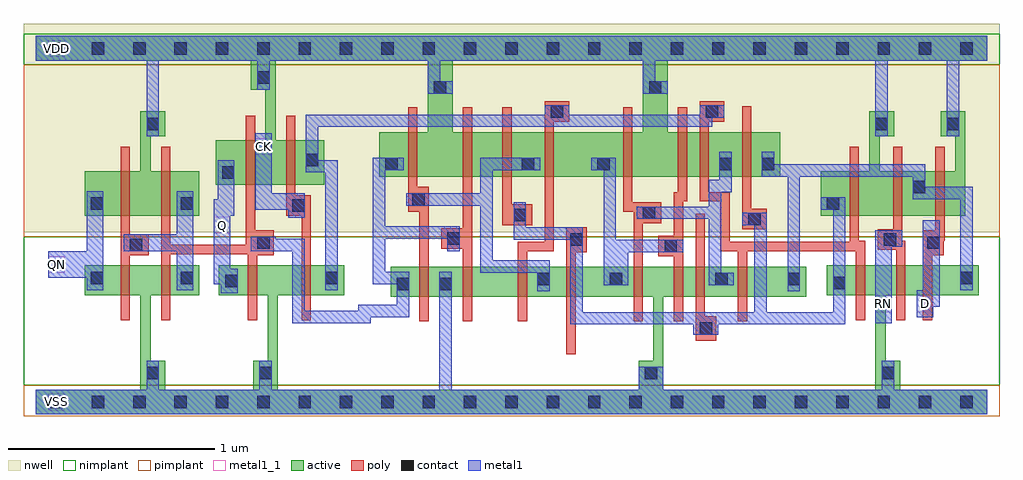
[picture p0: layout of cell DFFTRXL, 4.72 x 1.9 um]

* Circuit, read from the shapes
.subckt DFFTRXL CK D Q QN RN VDD VSS
M1 VSS n1 QN VSS nfet w=0.145u l=0.045u
M2 n1 n2 VSS VSS nfet w=0.145u l=0.045u
M3 VSS n2 Q VSS nfet w=0.145u l=0.045u
M4 n3 CK VSS VSS nfet w=0.145u l=0.045u
M5 VSS n4 n2 VSS nfet w=0.145u l=0.045u
M6 n5 n2 VSS VSS nfet w=0.145u l=0.045u
M7 n4 n3 n5 VSS nfet w=0.145u l=0.045u
M8 n6 n7 n4 VSS nfet w=0.145u l=0.045u
M9 VSS n8 n6 VSS nfet w=0.145u l=0.045u
M10 n9 n6 VSS VSS nfet w=0.145u l=0.045u
M11 n8 n7 n9 VSS nfet w=0.145u l=0.045u
M12 n10 n3 n8 VSS nfet w=0.145u l=0.045u
M13 VSS n3 n7 VSS nfet w=0.145u l=0.045u
M14 n11 RN VSS VSS nfet w=0.145u l=0.045u
M15 n10 D n11 VSS nfet w=0.145u l=0.045u
M16 VDD n1 QN VDD pfet w=0.215u l=0.045u
M17 n1 n2 VDD VDD pfet w=0.215u l=0.045u
M18 VDD n2 Q VDD pfet w=0.215u l=0.045u
M19 n3 CK VDD VDD pfet w=0.215u l=0.045u
M20 VDD n4 n2 VDD pfet w=0.215u l=0.045u
M21 n12 n2 VDD VDD pfet w=0.215u l=0.045u
M22 n4 n7 n12 VDD pfet w=0.215u l=0.045u
M23 n6 n3 n4 VDD pfet w=0.215u l=0.045u
M24 VDD n8 n6 VDD pfet w=0.215u l=0.045u
M25 n13 n6 VDD VDD pfet w=0.215u l=0.045u
M26 n8 n3 n13 VDD pfet w=0.215u l=0.045u
M27 n10 n7 n8 VDD pfet w=0.215u l=0.045u
M28 VDD n3 n7 VDD pfet w=0.215u l=0.045u
M29 n10 RN VDD VDD pfet w=0.215u l=0.045u
M30 VDD D n10 VDD pfet w=0.215u l=0.045u
.ends

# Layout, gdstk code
import gdstk
lib = gdstk.Library(unit=1e-6, precision=5e-10)
def R(c, l, rs):  # rectangles x0, y0, x1, y1
    for r in rs: c.add(gdstk.rectangle(r[:2], r[2:], *l))
def A(c, l, x, y, w, h, nx, ny, dx, dy):  # array of equal rectangles
    R(c, l, [(x+i*dx, y+j*dy, x+i*dx+w, y+j*dy+h) for i in range(nx) for j in range(ny)])
def P(c, l, *ps):  # polygons
    for p in ps: c.add(gdstk.Polygon(p, *l))
active = (1, 0)
nwell = (2, 0)
poly = (3, 0)
nimplant = (4, 0)
pimplant = (5, 0)
contact = (6, 0)
metal1 = (7, 0)
metal1_1 = (7, 1)

dfftrxl = lib.new_cell('DFFTRXL')
P(dfftrxl, active, [(0,1.77),(4.6,1.77),(4.6,1.65),(3.055,1.65),(3.055,1.305),(3.6,1.305),(3.6,1.09),(1.66,1.09),(1.66,1.305),(1.895,1.305),(1.895,1.65),(2.015,1.65),(2.015,1.305),(2.935,1.305),(2.935,1.65),(1.16,1.65),(1.16,1.265),(1.395,1.265),(1.395,1.05),(0.87,1.05),(0.87,1.265),(1.11,1.265),(1.11,1.51),(1.04,1.51),(1.04,1.65),(0,1.65)],
  [(0.505,1.405),(0.625,1.405),(0.625,1.285),(0.555,1.285),(0.555,1.115),(0.79,1.115),(0.79,0.9),(0.235,0.9),(0.235,1.115),(0.505,1.115)],
  [(4.03,1.405),(4.15,1.405),(4.15,1.285),(4.08,1.285),(4.08,1.115),(4.445,1.115),(4.445,1.285),(4.375,1.285),(4.375,1.405),(4.495,1.405),(4.495,0.9),(3.795,0.9),(3.795,1.115),(4.03,1.115)],
  [(0.235,0.66),(0.79,0.66),(0.79,0.515),(0.555,0.515),(0.555,0.2),(0.625,0.2),(0.625,0.06),(1.05,0.06),(1.05,0.2),(1.12,0.2),(1.12,0.515),(0.885,0.515),(0.885,0.66),(1.49,0.66),(1.49,0.515),(1.17,0.515),(1.17,0.06),(2.915,0.06),(2.915,0.2),(2.985,0.2),(2.985,0.51),(1.715,0.51),(1.715,0.655),(3.725,0.655),(3.725,0.51),(3.035,0.51),(3.035,0.06),(4.06,0.06),(4.06,0.515),(3.825,0.515),(3.825,0.66),(4.56,0.66),(4.56,0.515),(4.11,0.515),(4.11,0.2),(4.18,0.2),(4.18,0.06),(4.6,0.06),(4.6,-0.06),(0,-0.06),(0,0.06),(0.505,0.06),(0.505,0.515),(0.235,0.515)])
R(dfftrxl, nwell, [(-0.06,0.82,4.66,1.83)])
P(dfftrxl, poly, [(0.41,1.235),(0.455,1.235),(0.455,0.81),(0.545,0.81),(0.545,0.71),(0.455,0.71),(0.455,0.395),(0.41,0.395)],
  [(0.605,1.235),(0.65,1.235),(0.65,0.76),(1.015,0.76),(1.015,1.385),(1.06,1.385),(1.06,0.83),(1.15,0.83),(1.15,0.71),(1.07,0.71),(1.07,0.395),(1.025,0.395),(1.025,0.715),(0.65,0.715),(0.65,0.395),(0.605,0.395)],
  [(2.46,1.455),(2.58,1.455),(2.58,1.355),(2.505,1.355),(2.505,0.73),(2.375,0.73),(2.375,0.39),(2.33,0.39),(2.33,0.775),(2.46,0.775)],
  [(1.21,1.385),(1.255,1.385),(1.255,1),(1.33,1),(1.33,0.395),(1.285,0.395),(1.285,0.9),(1.21,0.9)],
  [(1.8,1.425),(1.845,1.425),(1.845,1.04),(1.9,1.04),(1.9,0.39),(1.855,0.39),(1.855,0.92),(1.8,0.92)],
  [(2.065,1.425),(2.11,1.425),(2.11,0.39),(2.065,0.39),(2.065,0.74),(1.96,0.74),(1.96,0.84),(2.065,0.84)],
  [(2.255,1.425),(2.3,1.425),(2.3,0.955),(2.4,0.955),(2.4,0.855),(2.255,0.855)],
  [(3.21,1.455),(3.33,1.455),(3.33,1.355),(3.255,1.355),(3.255,1.015),(3.355,1.015),(3.355,0.775),(3.935,0.775),(3.935,1.235),(3.98,1.235),(3.98,0.78),(4.01,0.78),(4.01,0.395),(3.965,0.395),(3.965,0.73),(3.44,0.73),(3.44,0.39),(3.395,0.39),(3.395,0.73),(3.31,0.73),(3.31,0.97),(3.21,0.97)],
  [(2.84,1.425),(2.885,1.425),(2.885,0.965),(3.025,0.965),(3.025,0.865),(2.935,0.865),(2.935,0.39),(2.89,0.39),(2.89,0.92),(2.84,0.92)],
  [(3.105,1.425),(3.15,1.425),(3.15,0.97),(3.13,0.97),(3.13,0.39),(3.085,0.39),(3.085,0.705),(3.01,0.705),(3.01,0.805),(3.085,0.805),(3.085,1.015),(3.105,1.015)],
  [(3.415,1.43),(3.46,1.43),(3.46,0.935),(3.535,0.935),(3.535,0.835),(3.415,0.835)],
  [(4.145,1.235),(4.19,1.235),(4.19,0.78),(4.205,0.78),(4.205,0.395),(4.16,0.395),(4.16,0.735),(4.07,0.735),(4.07,0.835),(4.145,0.835)],
  [(4.35,1.235),(4.395,1.235),(4.395,0.78),(4.39,0.78),(4.39,0.71),(4.335,0.71),(4.335,0.395),(4.29,0.395),(4.29,0.83),(4.35,0.83)],
  [(2.565,0.845),(2.665,0.845),(2.665,0.725),(2.61,0.725),(2.61,0.23),(2.565,0.23)],
  [(3.19,0.91),(3.235,0.91),(3.235,0.415),(3.29,0.415),(3.29,0.295),(3.19,0.295)])
R(dfftrxl, nimplant, [(-0.06,0.08,4.66,0.8), (-0.06,1.63,4.66,1.78)])
R(dfftrxl, pimplant, [(-0.06,-0.07,4.66,0.08), (-0.06,0.8,4.66,1.63)])
A(dfftrxl, contact, 0.07, -0.03, 0.06, 0.06, 23, 2, 0.2, 1.71)
R(dfftrxl, contact, [(0.535,0.11,0.595,0.17), (1.08,0.11,1.14,0.17), (2.945,0.11,3.005,0.17), (4.09,0.11,4.15,0.17), (3.21,0.325,3.27,0.385), (1.745,0.54,1.805,0.6), (1.95,0.54,2.01,0.6), (3.855,0.545,3.915,0.605), (0.915,0.555,0.975,0.615), (2.425,0.565,2.485,0.625), (2.775,0.565,2.835,0.625), (3.285,0.565,3.345,0.625), (3.635,0.565,3.695,0.625), (0.265,0.57,0.325,0.63), (0.7,0.57,0.76,0.63), (1.4,0.57,1.46,0.63), (4.47,0.57,4.53,0.63), (3.04,0.725,3.1,0.785), (0.455,0.73,0.515,0.79), (1.07,0.74,1.13,0.8), (4.31,0.74,4.37,0.8), (2.585,0.755,2.645,0.815), (4.1,0.755,4.16,0.815), (1.99,0.76,2.05,0.82), (3.445,0.855,3.505,0.915), (2.31,0.875,2.37,0.935), (2.935,0.885,2.995,0.945), (1.24,0.92,1.3,0.98), (0.265,0.93,0.325,0.99), (0.7,0.93,0.76,0.99), (3.825,0.93,3.885,0.99), (1.82,0.95,1.88,1.01), (4.24,1.01,4.3,1.07), (0.9,1.08,0.96,1.14), (1.69,1.12,1.75,1.18), (2.35,1.12,2.41,1.18), (2.715,1.12,2.775,1.18), (3.305,1.12,3.365,1.18), (3.51,1.12,3.57,1.18), (1.305,1.14,1.365,1.2), (0.535,1.315,0.595,1.375), (4.06,1.315,4.12,1.375), (4.405,1.315,4.465,1.375), (2.49,1.375,2.55,1.435), (3.24,1.375,3.3,1.435), (1.925,1.49,1.985,1.55), (2.965,1.49,3.025,1.55), (1.07,1.54,1.13,1.6)])
P(dfftrxl, metal1, [(0,1.77),(4.6,1.77),(4.6,1.65),(4.465,1.65),(4.465,1.285),(4.405,1.285),(4.405,1.65),(4.12,1.65),(4.12,1.285),(4.06,1.285),(4.06,1.65),(2.995,1.65),(2.995,1.55),(3.055,1.55),(3.055,1.49),(2.935,1.49),(2.935,1.65),(1.955,1.65),(1.955,1.55),(2.015,1.55),(2.015,1.49),(1.895,1.49),(1.895,1.65),(1.13,1.65),(1.13,1.51),(1.07,1.51),(1.07,1.65),(0.595,1.65),(0.595,1.285),(0.535,1.285),(0.535,1.65),(0,1.65)],
  [(2.46,1.435),(2.58,1.435),(2.58,1.39),(3.21,1.39),(3.21,1.435),(3.33,1.435),(3.33,1.375),(3.27,1.375),(3.27,1.33),(1.365,1.33),(1.365,1.17),(1.46,1.17),(1.46,0.54),(1.4,0.54),(1.4,1.11),(1.305,1.11),(1.305,1.39),(2.46,1.39)],
  [(0.88,1.17),(0.96,1.17),(0.96,0.9),(0.94,0.9),(0.94,0.645),(0.975,0.645),(0.975,0.525),(0.895,0.525),(0.895,0.57),(0.86,0.57),(0.86,0.98),(0.88,0.98)],
  [(3.305,1.21),(3.365,1.21),(3.365,1.015),(3.315,1.015),(3.315,0.625),(3.375,0.625),(3.375,0.565),(3.255,0.565),(3.255,0.885),(2.905,0.885),(2.905,0.945),(3.255,0.945),(3.255,1.075),(3.305,1.075)],
  [(0.245,1.02),(0.325,1.02),(0.325,0.54),(0.245,0.54),(0.245,0.6),(0.06,0.6),(0.06,0.73),(0.245,0.73)],
  [(0.68,1.02),(0.76,1.02),(0.76,0.54),(0.68,0.54),(0.68,0.73),(0.425,0.73),(0.425,0.81),(0.68,0.81)],
  [(1.06,1.3),(1.14,1.3),(1.14,1.01),(1.3,1.01),(1.3,0.89),(1.22,0.89),(1.22,0.93),(1.06,0.93)],
  [(1.63,1.18),(1.78,1.18),(1.78,1.12),(1.69,1.12),(1.69,0.85),(2.05,0.85),(2.05,0.73),(1.99,0.73),(1.99,0.79),(1.69,0.79),(1.69,0.63),(1.805,0.63),(1.805,0.41),(1.62,0.41),(1.62,0.38),(1.24,0.38),(1.24,0.73),(1.04,0.73),(1.04,0.8),(1.16,0.8),(1.16,0.79),(1.3,0.79),(1.3,0.44),(1.56,0.44),(1.56,0.47),(1.745,0.47),(1.745,0.57),(1.63,0.57)],
  [(2.15,1.18),(2.44,1.18),(2.44,1.12),(2.21,1.12),(2.21,0.685),(2.485,0.685),(2.485,0.535),(2.425,0.535),(2.425,0.625),(2.15,0.625),(2.15,0.95),(1.79,0.95),(1.79,1.01),(2.15,1.01)],
  [(2.685,1.18),(2.805,1.18),(2.805,0.785),(3.13,0.785),(3.13,0.725),(2.865,0.725),(2.865,0.565),(2.745,0.565),(2.745,1.12),(2.685,1.12)],
  [(2.31,0.965),(2.37,0.965),(2.37,0.845),(2.645,0.845),(2.645,0.435),(3.475,0.435),(3.475,0.855),(3.415,0.855),(3.415,0.915),(3.535,0.915),(3.535,0.435),(3.855,0.435),(3.855,0.93),(3.795,0.93),(3.795,0.99),(3.915,0.99),(3.915,0.375),(3.3,0.375),(3.3,0.325),(3.18,0.325),(3.18,0.375),(2.585,0.375),(2.585,0.785),(2.31,0.785)],
  [(3.51,1.21),(3.57,1.21),(3.57,1.15),(4.3,1.15),(4.3,1.04),(4.53,1.04),(4.53,0.54),(4.47,0.54),(4.47,0.98),(4.24,0.98),(4.24,1.09),(3.695,1.09),(3.695,0.535),(3.635,0.535),(3.635,1.09),(3.51,1.09)],
  [(0.535,0.2),(0.595,0.2),(0.595,0.06),(1.08,0.06),(1.08,0.2),(1.14,0.2),(1.14,0.06),(1.95,0.06),(1.95,0.63),(2.01,0.63),(2.01,0.06),(2.915,0.06),(2.915,0.17),(3.035,0.17),(3.035,0.06),(4.09,0.06),(4.09,0.2),(4.15,0.2),(4.15,0.06),(4.6,0.06),(4.6,-0.06),(0,-0.06),(0,0.06),(0.535,0.06)],
  [(4.29,0.88),(4.37,0.88),(4.37,0.46),(4.34,0.46),(4.34,0.41),(4.26,0.41),(4.26,0.54),(4.29,0.54)],
  [(4.06,0.83),(4.19,0.83),(4.19,0.75),(4.14,0.75),(4.14,0.38),(4.06,0.38)])
R(dfftrxl, metal1_1, [(0.06,-0.04,0.14,0.04), (4.06,0.435,4.14,0.515), (4.26,0.435,4.34,0.515), (0.06,0.625,0.14,0.705), (0.86,0.815,0.94,0.895), (1.06,1.195,1.14,1.275), (0.06,1.67,0.14,1.75)])
dfftrxl.add(gdstk.Label('Q', (0.9,0.855), layer=7, texttype=1))
dfftrxl.add(gdstk.Label('QN', (0.1,0.665), layer=7, texttype=1))
dfftrxl.add(gdstk.Label('D', (4.3,0.475), layer=7, texttype=1))
dfftrxl.add(gdstk.Label('RN', (4.1,0.475), layer=7, texttype=1))
dfftrxl.add(gdstk.Label('CK', (1.1,1.235), layer=7, texttype=1))
dfftrxl.add(gdstk.Label('VDD', (0.1,1.71), layer=7, texttype=1))
dfftrxl.add(gdstk.Label('VSS', (0.1,0), layer=7, texttype=1))
dfftrxl.add(gdstk.Label('DFFTRXL', (0,0), layer=63, texttype=0))

lib.write_gds('DFFTRXL.gds')
